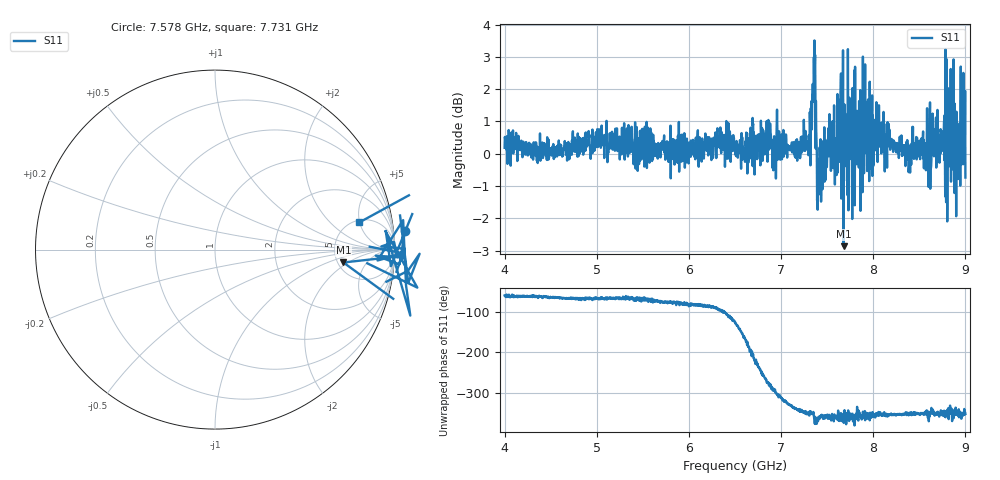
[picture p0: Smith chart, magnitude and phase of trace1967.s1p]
! Created with skrf 1.8.0 (http://scikit-rf.org).
# Hz S RI R 50.0
!freq ReS11 ImS11
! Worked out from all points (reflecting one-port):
!   1601 points, 4 GHz to 9 GHz, reference 50 ohm
!   lowest |S11| = -2.9 dB at 7.678 GHz (marker M1), VSWR 6.12, Z = 280 - j83.4 ohm
!   phase of S11 starts at -59 deg and turns -294 deg over the sweep
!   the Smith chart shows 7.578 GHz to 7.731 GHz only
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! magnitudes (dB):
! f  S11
! 4 GHz  0.2
! 4.625 GHz  -0.1
! 5.25 GHz  -0.2
! 5.875 GHz  0.3
! 6.5 GHz  0.3
! 6.681 GHz  0.6
! 6.725 GHz  0.4
! 6.869 GHz  0.1
! 6.922 GHz  -0.5
! 6.975 GHz  0.3
! 7.125 GHz  0.3
! 7.294 GHz  0.1
! 7.347 GHz  1.6
! 7.362 GHz  3.5
! 7.412 GHz  -0.7
! 7.512 GHz  0.8
! 7.591 GHz  0.3
! 7.647 GHz  1.9
! 7.678 GHz  -2.9
! 7.75 GHz  0.1
! 7.775 GHz  2.0
! 7.928 GHz  1.4
! 7.981 GHz  -0.5
! 8.375 GHz  -0.1
! 8.822 GHz  1.2
! 8.919 GHz  -0.3
! 8.972 GHz  0.6
! 9 GHz  -0.7
